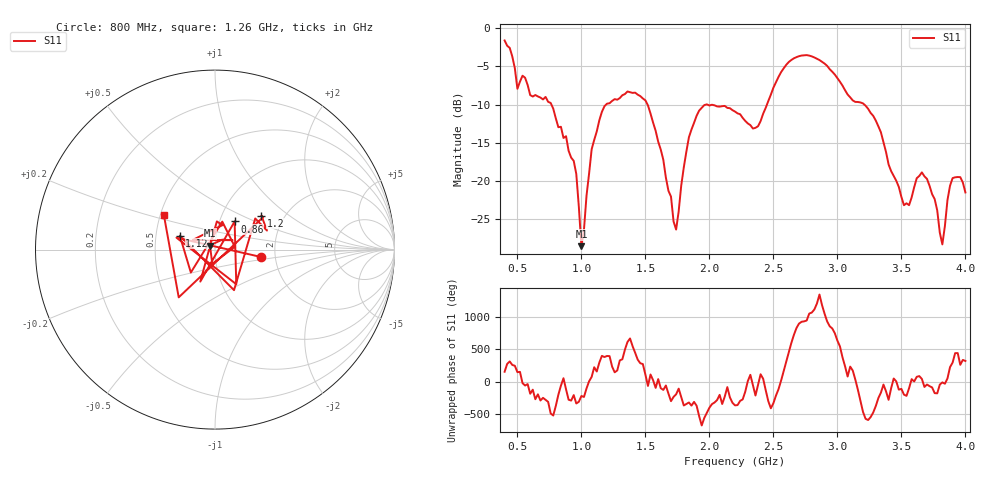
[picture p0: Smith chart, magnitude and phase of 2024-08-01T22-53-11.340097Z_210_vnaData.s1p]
!Created with skrf (http://scikit-rf.org).
# Hz S RI R 50.0
!freq ReS11 ImS11
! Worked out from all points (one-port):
!   181 points, 400 MHz to 4 GHz, reference 50 ohm
!   lowest |S11| = -28.5 dB at 1 GHz (marker M1), VSWR 1.08, Z = 47 + j2.12 ohm
!   |S11| at or under -10 dB: 1.517 GHz to 1.974 GHz (457.5 MHz wide, 26.2 % of centre); 1.984 GHz to 2.45 GHz (466 MHz wide, 21 % of centre); 3.21 GHz to end of sweep (the widest 3 of 4)
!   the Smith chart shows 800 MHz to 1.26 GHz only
!   S11 on the Smith chart (normalised r, x): 800 MHz: 1.67, -0.15; 860 MHz: 1.18, +0.38; 1.12 GHz: 0.66, +0.11; 1.2 GHz: 1.53, +0.65; 1.26 GHz: 0.52, +0.23
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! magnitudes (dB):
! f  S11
! 400 MHz  -1.6
! 500 MHz  -7.9
! 800 MHz  -11.8
! 860 MHz  -14.4
! 960 MHz  -19.1
! 1 GHz  -28.5
! 1.08 GHz  -15.9
! 1.12 GHz  -13.5
! 1.2 GHz  -9.9
! 1.26 GHz  -9.3
! 1.3 GHz  -9.1
! 1.5 GHz  -9.4
! 1.64 GHz  -17.2
! 1.72 GHz  -25.3
! 1.76 GHz  -24.0
! 1.84 GHz  -14.3
! 1.92 GHz  -10.8
! 2.2 GHz  -10.9
! 2.38 GHz  -12.8
! 2.66 GHz  -3.9
! 3.1 GHz  -9.1
! 3.28 GHz  -11.5
! 3.56 GHz  -23.2
! 3.66 GHz  -18.9
! 3.76 GHz  -22.4
! 3.82 GHz  -28.3
! 3.9 GHz  -19.6
! 4 GHz  -21.5
